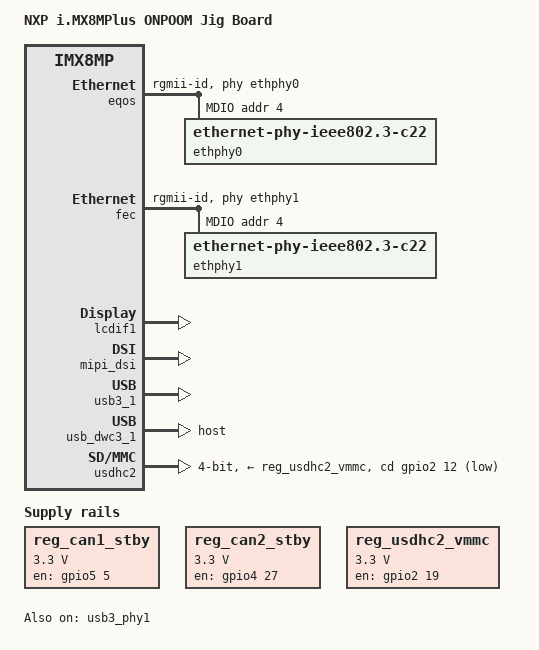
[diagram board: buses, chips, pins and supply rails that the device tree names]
// SPDX-License-Identifier: (GPL-2.0+ OR MIT)
/*
 * Copyright 2019 NXP
 */

/dts-v1/;

#include "imx8mp-onpoom-som.dts"

/ {
	model = "NXP i.MX8MPlus ONPOOM Jig Board";
	compatible = "onpoom,imx8mp-onpoom-som";

	reg_can1_stby: regulator-can1-stby {
		compatible = "regulator-fixed";
		regulator-name = "can1-stby";
		pinctrl-names = "default";
		pinctrl-0 = <&pinctrl_flexcan1_reg>;
		regulator-min-microvolt = <3300000>;
		regulator-max-microvolt = <3300000>;
		gpio = <&gpio5 5 GPIO_ACTIVE_HIGH>;
		enable-active-high;
	};

	reg_can2_stby: regulator-can2-stby {
		compatible = "regulator-fixed";
		regulator-name = "can2-stby";
		pinctrl-names = "default";
		pinctrl-0 = <&pinctrl_flexcan2_reg>;
		regulator-min-microvolt = <3300000>;
		regulator-max-microvolt = <3300000>;
		gpio = <&gpio4 27 GPIO_ACTIVE_HIGH>;
		enable-active-high;
	};

	reg_usdhc2_vmmc: regulator-usdhc2 {
		compatible = "regulator-fixed";
		pinctrl-names = "default";
		pinctrl-0 = <&pinctrl_reg_usdhc2_vmmc>;
		regulator-name = "VSD2_3V3";
		regulator-min-microvolt = <3300000>;
		regulator-max-microvolt = <3300000>;
		gpio = <&gpio2 19 GPIO_ACTIVE_HIGH>;
		enable-active-high;
		startup-delay-us = <100>;
		off-on-delay-us = <12000>;	/* boot delay */
	};

	dsi_host: dsi-host {
		compatible = "samsung,sec-mipi-dsi";
		status = "okay";
	};

	rm67199_panel {
		compatible = "raydium,rm67199";
		pinctrl-names = "default";
		pinctrl-0 = <&pinctrl_mipi_dsi_en>;
		reset-gpio = <&gpio1 8 GPIO_ACTIVE_LOW>;
		dsi-lanes = <4>;
		video-mode = <2>;	/* 0: burst mode
					 * 1: non-burst mode with sync event
					 * 2: non-burst mode with sync pulse
					 */
		panel-width-mm = <68>;
		panel-height-mm = <121>;
		status = "disabled";
	};
};

&flexcan1 {
	pinctrl-names = "default";
	pinctrl-0 = <&pinctrl_flexcan1>;
	xceiver-supply = <&reg_can1_stby>;
	status = "disabled";
};

&eqos {
	pinctrl-names = "default";
	pinctrl-0 = <&pinctrl_eqos>;
	phy-mode = "rgmii-id";
	phy-handle = <&ethphy0>;
	status = "okay";

	mdio {
		compatible = "snps,dwmac-mdio";
		#address-cells = <1>;
		#size-cells = <0>;

		ethphy0: ethernet-phy@4 {
			compatible = "ethernet-phy-ieee802.3-c22";
			reg = <4>;
			eee-broken-1000t;
		};
	};
};

&flexcan2 {
	pinctrl-names = "default";
	pinctrl-0 = <&pinctrl_flexcan2>;
	xceiver-supply = <&reg_can2_stby>;
	status = "disabled";/* can2 pin conflict with pdm */
};

&fec {
	pinctrl-names = "default";
	pinctrl-0 = <&pinctrl_fec>;
	phy-mode = "rgmii-id";
	phy-handle = <&ethphy1>;
	fsl,magic-packet;
	status = "okay";

	mdio {
		#address-cells = <1>;
		#size-cells = <0>;

		ethphy1: ethernet-phy@4 {
			compatible = "ethernet-phy-ieee802.3-c22";
			reg = <4>;
			eee-broken-1000t;
		};
	};
};

&flexspi {
	pinctrl-names = "default";
	pinctrl-0 = <&pinctrl_flexspi0>;
	status = "disabled";

	flash0: mt25qu256aba@0 {
		reg = <0>;
		#address-cells = <1>;
		#size-cells = <1>;
		compatible = "jedec,spi-nor";
		spi-max-frequency = <80000000>;
		spi-tx-bus-width = <4>;
		spi-rx-bus-width = <4>;
	};
};

&i2c3 {
	clock-frequency = <100000>;
	pinctrl-names = "default";
	pinctrl-0 = <&pinctrl_i2c3>;
	status = "disabled";

	pca6416: gpio@20 {
		compatible = "ti,tca6416";
		reg = <0x20>;
		gpio-controller;
		#gpio-cells = <2>;
	};
};

&lcdif1 {
	status = "okay";
};

&mipi_dsi {
	status = "okay";
/*
	port@1 {
		dsim_to_adv7535: endpoint {
			remote-endpoint = <&adv7535_from_dsim>;
		};
	};

	port@2 {
		dsim_to_rm67191: endpoint {
			remote-endpoint = <&rm67191_from_dsim>;
		};
	};
*/
};

&usb3_phy1 {
	fsl,phy-tx-preemp-amp-tune = <3>;
	fsl,phy-tx-vref-tune = <0xb>;
	status = "okay";
};

&usb3_1 {
	status = "okay";
};

&usb_dwc3_1 {
	pinctrl-names = "default";
	pinctrl-0 = <&pinctrl_usb1_vbus>;
	dr_mode = "host";
	status = "okay";
};

&usdhc2 {
	pinctrl-names = "default", "state_100mhz", "state_200mhz";
	pinctrl-0 = <&pinctrl_usdhc2>, <&pinctrl_usdhc2_gpio>;
	pinctrl-1 = <&pinctrl_usdhc2_100mhz>, <&pinctrl_usdhc2_gpio>;
	pinctrl-2 = <&pinctrl_usdhc2_200mhz>, <&pinctrl_usdhc2_gpio>;
	cd-gpios = <&gpio2 12 GPIO_ACTIVE_LOW>;
	vmmc-supply = <&reg_usdhc2_vmmc>;
	bus-width = <4>;
	status = "okay";
};

&iomuxc {
	pinctrl-names = "default";

	pinctrl_eqos: eqosgrp {
		fsl,pins = <
			MX8MP_IOMUXC_ENET_MDC__ENET_QOS_MDC	0x3
			MX8MP_IOMUXC_ENET_MDIO__ENET_QOS_MDIO	0x3
			MX8MP_IOMUXC_ENET_RD0__ENET_QOS_RGMII_RD0	0x91
			MX8MP_IOMUXC_ENET_RD1__ENET_QOS_RGMII_RD1	0x91
			MX8MP_IOMUXC_ENET_RD2__ENET_QOS_RGMII_RD2	0x91
			MX8MP_IOMUXC_ENET_RD3__ENET_QOS_RGMII_RD3	0x91
			MX8MP_IOMUXC_ENET_RXC__CCM_ENET_QOS_CLOCK_GENERATE_RX_CLK	0x91
			MX8MP_IOMUXC_ENET_RX_CTL__ENET_QOS_RGMII_RX_CTL	0x91
			MX8MP_IOMUXC_ENET_TD0__ENET_QOS_RGMII_TD0		0x1f
			MX8MP_IOMUXC_ENET_TD1__ENET_QOS_RGMII_TD1		0x1f
			MX8MP_IOMUXC_ENET_TD2__ENET_QOS_RGMII_TD2		0x1f
			MX8MP_IOMUXC_ENET_TD3__ENET_QOS_RGMII_TD3		0x1f
			MX8MP_IOMUXC_ENET_TX_CTL__ENET_QOS_RGMII_TX_CTL	0x1f
			MX8MP_IOMUXC_ENET_TXC__CCM_ENET_QOS_CLOCK_GENERATE_TX_CLK	0x1f
			MX8MP_IOMUXC_SAI5_RXD2__GPIO3_IO23		0x150	/* Internal pull-up enable */
		>;
	};

	pinctrl_fec: fecgrp {
		fsl,pins = <
			MX8MP_IOMUXC_SAI1_RXD2__ENET1_MDC		0x3
			MX8MP_IOMUXC_SAI1_RXD3__ENET1_MDIO		0x3
			MX8MP_IOMUXC_SAI1_RXD4__ENET1_RGMII_RD0		0x91
			MX8MP_IOMUXC_SAI1_RXD5__ENET1_RGMII_RD1		0x91
			MX8MP_IOMUXC_SAI1_RXD6__ENET1_RGMII_RD2		0x91
			MX8MP_IOMUXC_SAI1_RXD7__ENET1_RGMII_RD3		0x91
			MX8MP_IOMUXC_SAI1_TXC__ENET1_RGMII_RXC		0x91
			MX8MP_IOMUXC_SAI1_TXFS__ENET1_RGMII_RX_CTL	0x91
			MX8MP_IOMUXC_SAI1_TXD0__ENET1_RGMII_TD0		0x1f
			MX8MP_IOMUXC_SAI1_TXD1__ENET1_RGMII_TD1		0x1f
			MX8MP_IOMUXC_SAI1_TXD2__ENET1_RGMII_TD2		0x1f
			MX8MP_IOMUXC_SAI1_TXD3__ENET1_RGMII_TD3		0x1f
			MX8MP_IOMUXC_SAI1_TXD4__ENET1_RGMII_TX_CTL	0x1f
			MX8MP_IOMUXC_SAI1_TXD5__ENET1_RGMII_TXC		0x1f
			MX8MP_IOMUXC_SAI1_RXC__GPIO4_IO01		0x150 /* Internal pull-up enable */
		>;
	};

	pinctrl_flexcan1: flexcan1grp {
		fsl,pins = <
			MX8MP_IOMUXC_SPDIF_RX__CAN1_RX          0x154
			MX8MP_IOMUXC_SPDIF_TX__CAN1_TX          0x154
		>;
	};

	pinctrl_flexcan2: flexcan2grp {
		fsl,pins = <
			MX8MP_IOMUXC_SAI5_MCLK__CAN2_RX         0x154
			MX8MP_IOMUXC_SAI5_RXD3__CAN2_TX         0x154
		>;
	};

	pinctrl_flexcan1_reg: flexcan1reggrp {
		fsl,pins = <
			MX8MP_IOMUXC_SPDIF_EXT_CLK__GPIO5_IO05  0x154   /* CAN1_STBY */
		>;
	};

	pinctrl_flexcan2_reg: flexcan2reggrp {
		fsl,pins = <
			MX8MP_IOMUXC_SAI2_MCLK__GPIO4_IO27      0x154   /* CAN2_STBY */
		>;
	};

	pinctrl_flexspi0: flexspi0grp {
		fsl,pins = <
			MX8MP_IOMUXC_NAND_ALE__FLEXSPI_A_SCLK		0x1c2
			MX8MP_IOMUXC_NAND_CE0_B__FLEXSPI_A_SS0_B	0x82
			MX8MP_IOMUXC_NAND_DATA00__FLEXSPI_A_DATA00	0x82
			MX8MP_IOMUXC_NAND_DATA01__FLEXSPI_A_DATA01	0x82
			MX8MP_IOMUXC_NAND_DATA02__FLEXSPI_A_DATA02	0x82
			MX8MP_IOMUXC_NAND_DATA03__FLEXSPI_A_DATA03	0x82
		>;
	};

	pinctrl_i2c3: i2c3grp {
		fsl,pins = <
			MX8MP_IOMUXC_I2C3_SCL__I2C3_SCL			0x400001c3
			MX8MP_IOMUXC_I2C3_SDA__I2C3_SDA			0x400001c3
		>;
	};

	pinctrl_mipi_dsi_en: mipi_dsi_en {
		fsl,pins = <
			MX8MP_IOMUXC_GPIO1_IO08__GPIO1_IO08	0x16
		>;
	};

	pinctrl_reg_usdhc2_vmmc: regusdhc2vmmc {
		fsl,pins = <
			MX8MP_IOMUXC_SD2_RESET_B__GPIO2_IO19	0x41
		>;
	};

	pinctrl_usb1_vbus: usb1grp {
		fsl,pins = <
			MX8MP_IOMUXC_GPIO1_IO11__GPIO1_IO11		0x10
		>;
	};

	pinctrl_usdhc2: usdhc2grp {
		fsl,pins = <
			MX8MP_IOMUXC_SD2_CLK__USDHC2_CLK	0x190
			MX8MP_IOMUXC_SD2_CMD__USDHC2_CMD	0x1d0
			MX8MP_IOMUXC_SD2_DATA0__USDHC2_DATA0	0x1d0
			MX8MP_IOMUXC_SD2_DATA1__USDHC2_DATA1	0x1d0
			MX8MP_IOMUXC_SD2_DATA2__USDHC2_DATA2	0x1d0
			MX8MP_IOMUXC_SD2_DATA3__USDHC2_DATA3	0x1d0
			MX8MP_IOMUXC_GPIO1_IO04__USDHC2_VSELECT	0xc1
		>;
	};

	pinctrl_usdhc2_100mhz: usdhc2-100mhzgrp {
		fsl,pins = <
			MX8MP_IOMUXC_SD2_CLK__USDHC2_CLK	0x194
			MX8MP_IOMUXC_SD2_CMD__USDHC2_CMD	0x1d4
			MX8MP_IOMUXC_SD2_DATA0__USDHC2_DATA0	0x1d4
			MX8MP_IOMUXC_SD2_DATA1__USDHC2_DATA1	0x1d4
			MX8MP_IOMUXC_SD2_DATA2__USDHC2_DATA2	0x1d4
			MX8MP_IOMUXC_SD2_DATA3__USDHC2_DATA3	0x1d4
			MX8MP_IOMUXC_GPIO1_IO04__USDHC2_VSELECT 0xc1
		>;
	};

	pinctrl_usdhc2_200mhz: usdhc2-200mhzgrp {
		fsl,pins = <
			MX8MP_IOMUXC_SD2_CLK__USDHC2_CLK	0x196
			MX8MP_IOMUXC_SD2_CMD__USDHC2_CMD	0x1d6
			MX8MP_IOMUXC_SD2_DATA0__USDHC2_DATA0	0x1d6
			MX8MP_IOMUXC_SD2_DATA1__USDHC2_DATA1	0x1d6
			MX8MP_IOMUXC_SD2_DATA2__USDHC2_DATA2	0x1d6
			MX8MP_IOMUXC_SD2_DATA3__USDHC2_DATA3	0x1d6
			MX8MP_IOMUXC_GPIO1_IO04__USDHC2_VSELECT 0xc1
		>;
	};

	pinctrl_usdhc2_gpio: usdhc2gpiogrp {
		fsl,pins = <
			MX8MP_IOMUXC_SD2_CD_B__GPIO2_IO12	0x1c4
		>;
	};
};
